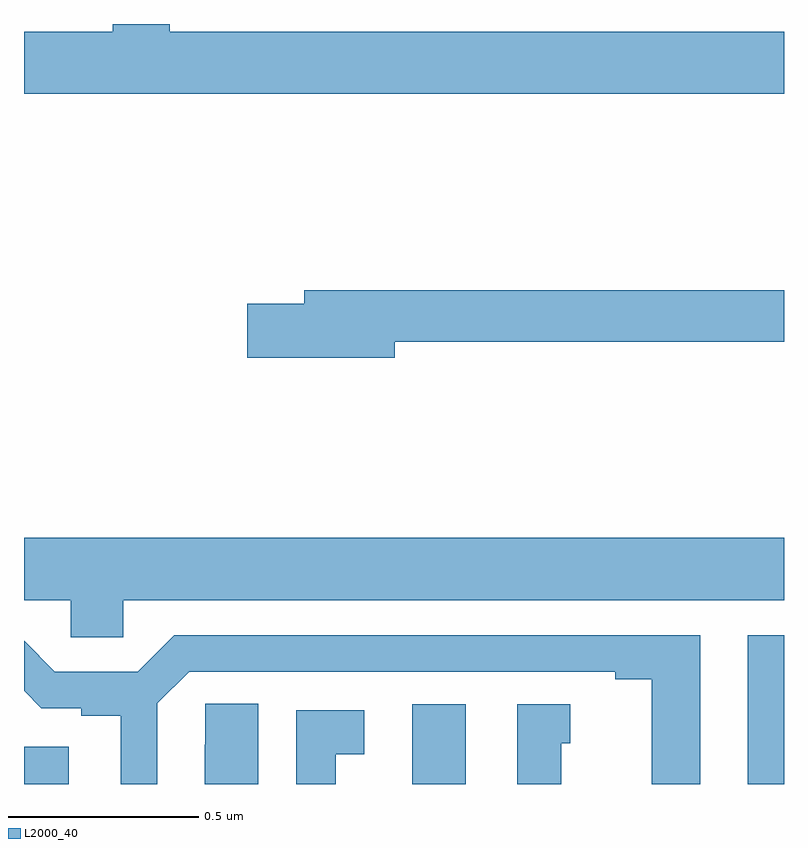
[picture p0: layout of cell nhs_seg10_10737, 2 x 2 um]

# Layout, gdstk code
import gdstk
lib = gdstk.Library(unit=1e-6, precision=1e-09)
def R(c, l, rs):  # rectangles x0, y0, x1, y1
    for r in rs: c.add(gdstk.rectangle(r[:2], r[2:], *l))
def P(c, l, *ps):  # polygons
    for p in ps: c.add(gdstk.Polygon(p, *l))
L2000_40 = (2000, 40)

nhs_seg10_10737 = lib.new_cell('nhs_seg10_10737')
R(nhs_seg10_10737, L2000_40, [(246,1298.5,246.118,1298.598), (247.022,1298.5,247.162,1298.71), (247.904,1298.5,248,1298.892)])
P(nhs_seg10_10737, L2000_40, [(248,1300.48),(246.384,1300.48),(246.384,1300.5),(246.233,1300.5),(246.233,1300.48),(246,1300.48),(246,1300.316),(248,1300.316)],
  [(246.976,1299.664),(248,1299.664),(248,1299.8),(246.737,1299.8),(246.737,1299.764),(246.588,1299.764),(246.588,1299.622),(246.976,1299.622)],
  [(246,1298.984),(246.123,1298.984),(246.123,1298.886),(246.261,1298.886),(246.261,1298.984),(248,1298.984),(248,1299.148),(246,1299.148)],
  [(246.351,1298.712),(246.435,1298.796),(247.556,1298.796),(247.556,1298.776),(247.652,1298.776),(247.652,1298.5),(247.78,1298.5),(247.78,1298.892),(246.395,1298.892),(246.299,1298.796),(246.081,1298.796),(246,1298.877),(246,1298.745),(246.045,1298.7),(246.15,1298.7),(246.15,1298.68),(246.254,1298.68),(246.254,1298.5),(246.351,1298.5)],
  [(246.616,1298.711),(246.477,1298.711),(246.477,1298.603),(246.476,1298.603),(246.476,1298.5),(246.616,1298.5)],
  [(247.414,1298.607),(247.438,1298.607),(247.438,1298.71),(247.298,1298.71),(247.298,1298.5),(247.414,1298.5)],
  [(246.82,1298.578),(246.895,1298.578),(246.895,1298.694),(246.716,1298.694),(246.716,1298.5),(246.82,1298.5)])

lib.write_gds('nhs_seg10_10737.gds')
